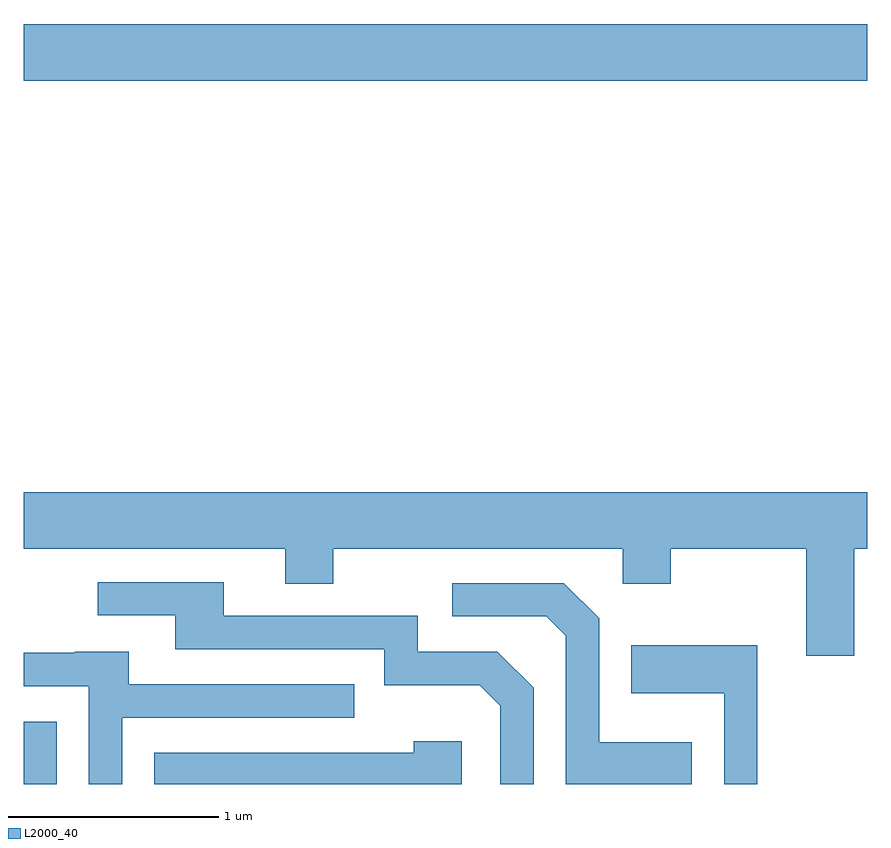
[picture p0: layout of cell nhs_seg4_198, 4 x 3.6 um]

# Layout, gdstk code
import gdstk
lib = gdstk.Library(unit=1e-6, precision=1e-09)
def R(c, l, rs):  # rectangles x0, y0, x1, y1
    for r in rs: c.add(gdstk.rectangle(r[:2], r[2:], *l))
def P(c, l, *ps):  # polygons
    for p in ps: c.add(gdstk.Polygon(p, *l))
L2000_40 = (2000, 40)

nhs_seg4_198 = lib.new_cell('nhs_seg4_198')
R(nhs_seg4_198, L2000_40, [(189.611,1377.982,189.769,1378.278), (189.611,1381.316,193.611,1381.584)])
P(nhs_seg4_198, L2000_40, [(193.549,1379.096),(193.611,1379.096),(193.611,1379.364),(189.611,1379.364),(189.611,1379.096),(190.851,1379.096),(190.851,1378.931),(191.079,1378.931),(191.079,1379.096),(192.451,1379.096),(192.451,1378.931),(192.679,1378.931),(192.679,1379.096),(193.321,1379.096),(193.321,1378.591),(193.549,1378.591)],
  [(192.029,1378.437),(191.857,1378.609),(191.479,1378.609),(191.479,1378.779),(190.559,1378.779),(190.559,1378.939),(189.963,1378.939),(189.963,1378.781),(190.331,1378.781),(190.331,1378.621),(191.321,1378.621),(191.321,1378.451),(191.774,1378.451),(191.871,1378.354),(191.871,1377.982),(192.029,1377.982)],
  [(192.779,1378.179),(192.339,1378.179),(192.339,1378.767),(192.172,1378.934),(191.643,1378.934),(191.643,1378.776),(192.089,1378.776),(192.181,1378.684),(192.181,1377.982),(192.779,1377.982)],
  [(193.089,1378.639),(192.491,1378.639),(192.491,1378.411),(192.931,1378.411),(192.931,1377.982),(193.089,1377.982)],
  [(190.079,1378.296),(191.178,1378.296),(191.178,1378.454),(190.109,1378.454),(190.109,1378.609),(189.855,1378.609),(189.855,1378.604),(189.611,1378.604),(189.611,1378.446),(189.921,1378.446),(189.921,1377.982),(190.079,1377.982)],
  [(191.689,1378.184),(191.461,1378.184),(191.461,1378.129),(190.231,1378.129),(190.231,1377.982),(191.689,1377.982)])

lib.write_gds('nhs_seg4_198.gds')
